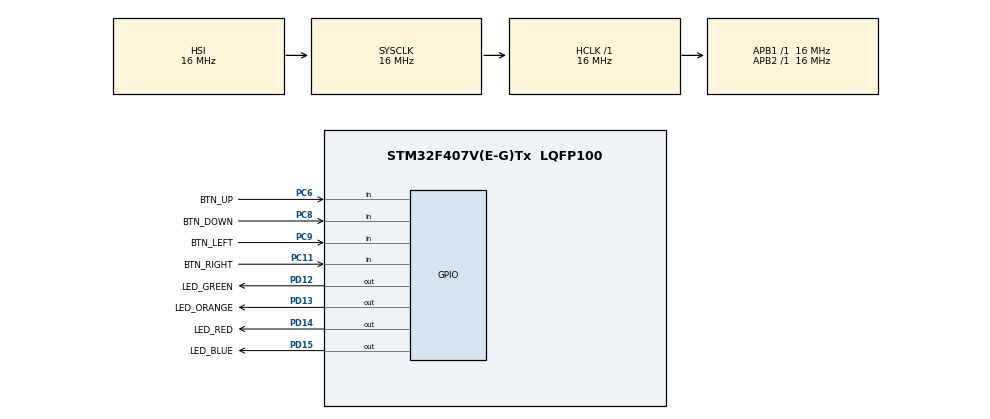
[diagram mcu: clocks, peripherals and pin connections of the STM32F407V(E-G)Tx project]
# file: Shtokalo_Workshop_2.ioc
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Mcu.Family=STM32F4
Mcu.Name=STM32F407V(E-G)Tx
Mcu.Package=LQFP100
NVIC.PriorityGroup=NVIC_PRIORITYGROUP_4
PC11.GPIO_Label=BTN_RIGHT
PC11.Signal=GPIO_Input
PC6.GPIO_Label=BTN_UP
PC6.Signal=GPIO_Input
PC8.GPIO_Label=BTN_DOWN
PC8.Signal=GPIO_Input
PC9.GPIO_Label=BTN_LEFT
PC9.Signal=GPIO_Input
PD12.GPIO_Label=LED_GREEN
PD12.Signal=GPIO_Output
PD13.GPIO_Label=LED_ORANGE
PD13.Signal=GPIO_Output
PD14.GPIO_Label=LED_RED
PD14.Signal=GPIO_Output
PD15.GPIO_Label=LED_BLUE
PD15.Signal=GPIO_Output
ProjectManager.HeapSize=0x200
ProjectManager.StackSize=0x400
ProjectManager.TargetToolchain=STM32CubeIDE
RCC.AHBFreq_Value=16000000
RCC.APB1Freq_Value=16000000
RCC.APB2Freq_Value=16000000
RCC.CortexFreq_Value=16000000
RCC.HSE_VALUE=25000000
RCC.HSI_VALUE=16000000
RCC.LSE_VALUE=32768
RCC.SYSCLKFreq_VALUE=16000000
RCC.VCOOutputFreq_Value=192000000
board=custom

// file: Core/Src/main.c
/* USER CODE BEGIN Header */
/**
  ******************************************************************************
  * @file           : main.c
  * @brief          : Main program body
  ******************************************************************************
  * @attention
  *
  * <h2><center>&copy; Copyright (c) 2021 STMicroelectronics.
  * All rights reserved.</center></h2>
  *
  * This software component is licensed by ST under BSD 3-Clause license,
  * the "License"; You may not use this file except in compliance with the
  * License. You may obtain a copy of the License at:
  *                        opensource.org/licenses/BSD-3-Clause
  *
  ******************************************************************************
  */
/* USER CODE END Header */
#include "main.h"

void SystemClock_Config(void);
static void MX_GPIO_Init(void);

int main(void)
{

  /* MCU Configuration--------------------------------------------------------*/

  /* Reset of all peripherals, Initializes the Flash interface and the Systick. */
  HAL_Init();

  /* Configure the system clock */
  SystemClock_Config();

  /* Initialize all configured peripherals */
  MX_GPIO_Init();
  /* USER CODE BEGIN 2 */
  unsigned int ledStatus = 0;			//Status-code that indicates which LED should be on
  	  	  	  	  	  	  	  	  	  	//Value is from 0 to 3 (since we have 4 LED`s)
  unsigned int ledFrequency = 101;		//Frequency of blinking in miliseconds of delay time
  /* USER CODE END 2 */

  /* Infinite loop */
  while (1)
  {

    /* USER CODE BEGIN 3 */
	  //Increase or decrease a number of LED`s to light up
	  if(!HAL_GPIO_ReadPin(GPIOC, BTN_RIGHT_Pin) && ledStatus < 4){
		  ledStatus += 1;
	  }
	  else if (!HAL_GPIO_ReadPin(GPIOC, BTN_LEFT_Pin) && ledStatus < 4){
		  if (ledStatus > 0){
			  ledStatus -= 1;
		  }
	  }
	  else if (ledStatus > 3){
		  ledStatus = 0;
	  }

	  //Increase or decrease frequency of blinking
	  if(!HAL_GPIO_ReadPin(GPIOC, BTN_UP_Pin) && ledFrequency < 2000){
		  ledFrequency += 50;
	  }
	  else if(!HAL_GPIO_ReadPin(GPIOC, BTN_DOWN_Pin) && ledFrequency < 2000){
		  if(ledFrequency > 50){
			  ledFrequency -= 50;
		  }
	  }
	  else if(ledFrequency > 1999 || ledFrequency < 100){
		  ledFrequency = 100;
	  }

	  HAL_Delay(ledFrequency);
	  if(ledStatus == 0){
		  HAL_GPIO_WritePin(GPIOD, LED_GREEN_Pin, GPIO_PIN_SET);
		  HAL_GPIO_WritePin(GPIOD, LED_ORANGE_Pin, GPIO_PIN_RESET);
		  HAL_GPIO_WritePin(GPIOD, LED_RED_Pin, GPIO_PIN_RESET);
		  HAL_GPIO_WritePin(GPIOD, LED_BLUE_Pin, GPIO_PIN_RESET);
	  }
	  else if (ledStatus == 1){
		  HAL_GPIO_WritePin(GPIOD, LED_GREEN_Pin, GPIO_PIN_SET);
		  HAL_GPIO_WritePin(GPIOD, LED_ORANGE_Pin, GPIO_PIN_SET);
		  HAL_GPIO_WritePin(GPIOD, LED_RED_Pin, GPIO_PIN_RESET);
		  HAL_GPIO_WritePin(GPIOD, LED_BLUE_Pin, GPIO_PIN_RESET);
	  }
	  else if (ledStatus == 2){
		  HAL_GPIO_WritePin(GPIOD, LED_GREEN_Pin, GPIO_PIN_SET);
		  HAL_GPIO_WritePin(GPIOD, LED_ORANGE_Pin, GPIO_PIN_SET);
		  HAL_GPIO_WritePin(GPIOD, LED_RED_Pin, GPIO_PIN_SET);
		  HAL_GPIO_WritePin(GPIOD, LED_BLUE_Pin, GPIO_PIN_RESET);
	  }
	  else if (ledStatus == 3){
		  HAL_GPIO_WritePin(GPIOD, LED_GREEN_Pin, GPIO_PIN_SET);
		  HAL_GPIO_WritePin(GPIOD, LED_ORANGE_Pin, GPIO_PIN_SET);
		  HAL_GPIO_WritePin(GPIOD, LED_RED_Pin, GPIO_PIN_SET);
		  HAL_GPIO_WritePin(GPIOD, LED_BLUE_Pin, GPIO_PIN_SET);
	  }

	  HAL_Delay(ledFrequency);

	  HAL_GPIO_WritePin(GPIOD, LED_GREEN_Pin, GPIO_PIN_RESET);
	  HAL_GPIO_WritePin(GPIOD, LED_ORANGE_Pin, GPIO_PIN_RESET);
	  HAL_GPIO_WritePin(GPIOD, LED_RED_Pin, GPIO_PIN_RESET);
	  HAL_GPIO_WritePin(GPIOD, LED_BLUE_Pin, GPIO_PIN_RESET);

  }
  /* USER CODE END 3 */
}

void SystemClock_Config(void)
{
  RCC_OscInitTypeDef RCC_OscInitStruct = {0};
  RCC_ClkInitTypeDef RCC_ClkInitStruct = {0};

  /** Configure the main internal regulator output voltage
  */
  __HAL_RCC_PWR_CLK_ENABLE();
  __HAL_PWR_VOLTAGESCALING_CONFIG(PWR_REGULATOR_VOLTAGE_SCALE1);
  /** Initializes the RCC Oscillators according to the specified parameters
  * in the RCC_OscInitTypeDef structure.
  */
  RCC_OscInitStruct.OscillatorType = RCC_OSCILLATORTYPE_HSI;
  RCC_OscInitStruct.HSIState = RCC_HSI_ON;
  RCC_OscInitStruct.HSICalibrationValue = RCC_HSICALIBRATION_DEFAULT;
  RCC_OscInitStruct.PLL.PLLState = RCC_PLL_NONE;
  if (HAL_RCC_OscConfig(&RCC_OscInitStruct) != HAL_OK)
  {
    Error_Handler();
  }
  /** Initializes the CPU, AHB and APB buses clocks
  */
  RCC_ClkInitStruct.ClockType = RCC_CLOCKTYPE_HCLK|RCC_CLOCKTYPE_SYSCLK
                              |RCC_CLOCKTYPE_PCLK1|RCC_CLOCKTYPE_PCLK2;
  RCC_ClkInitStruct.SYSCLKSource = RCC_SYSCLKSOURCE_HSI;
  RCC_ClkInitStruct.AHBCLKDivider = RCC_SYSCLK_DIV1;
  RCC_ClkInitStruct.APB1CLKDivider = RCC_HCLK_DIV1;
  RCC_ClkInitStruct.APB2CLKDivider = RCC_HCLK_DIV1;

  if (HAL_RCC_ClockConfig(&RCC_ClkInitStruct, FLASH_LATENCY_0) != HAL_OK)
  {
    Error_Handler();
  }
}

static void MX_GPIO_Init(void)
{
  GPIO_InitTypeDef GPIO_InitStruct = {0};

  /* GPIO Ports Clock Enable */
  __HAL_RCC_GPIOD_CLK_ENABLE();
  __HAL_RCC_GPIOC_CLK_ENABLE();

  /*Configure GPIO pin Output Level */
  HAL_GPIO_WritePin(GPIOD, LED_GREEN_Pin|LED_ORANGE_Pin|LED_RED_Pin|LED_BLUE_Pin, GPIO_PIN_RESET);

  /*Configure GPIO pins : LED_GREEN_Pin LED_ORANGE_Pin LED_RED_Pin LED_BLUE_Pin */
  GPIO_InitStruct.Pin = LED_GREEN_Pin|LED_ORANGE_Pin|LED_RED_Pin|LED_BLUE_Pin;
  GPIO_InitStruct.Mode = GPIO_MODE_OUTPUT_PP;
  GPIO_InitStruct.Pull = GPIO_NOPULL;
  GPIO_InitStruct.Speed = GPIO_SPEED_FREQ_LOW;
  HAL_GPIO_Init(GPIOD, &GPIO_InitStruct);

  /*Configure GPIO pins : BTN_UP_Pin BTN_DOWN_Pin BTN_LEFT_Pin BTN_RIGHT_Pin */
  GPIO_InitStruct.Pin = BTN_UP_Pin|BTN_DOWN_Pin|BTN_LEFT_Pin|BTN_RIGHT_Pin;
  GPIO_InitStruct.Mode = GPIO_MODE_INPUT;
  GPIO_InitStruct.Pull = GPIO_NOPULL;
  HAL_GPIO_Init(GPIOC, &GPIO_InitStruct);

}

void Error_Handler(void)
{
  __disable_irq();
  while (1)
  {
  }
}

/************************ (C) COPYRIGHT STMicroelectronics *****END OF FILE****/
